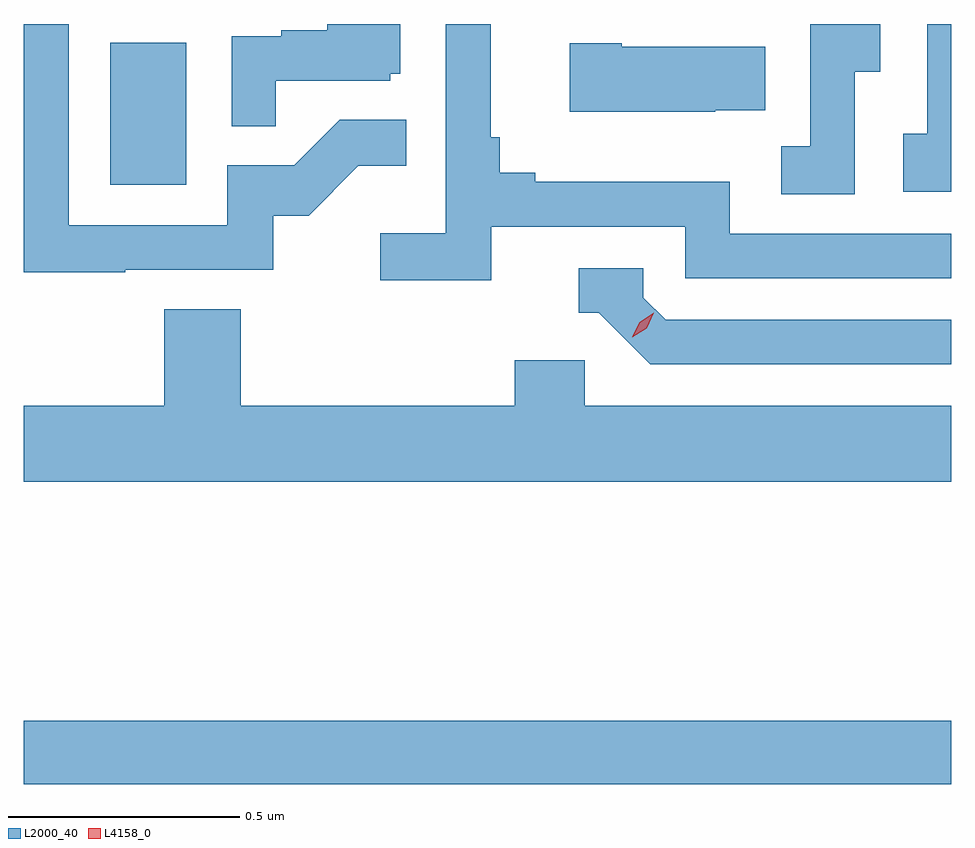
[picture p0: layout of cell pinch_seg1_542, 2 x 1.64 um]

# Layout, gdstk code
import gdstk
lib = gdstk.Library(unit=1e-6, precision=1e-09)
def R(c, l, rs):  # rectangles x0, y0, x1, y1
    for r in rs: c.add(gdstk.rectangle(r[:2], r[2:], *l))
def P(c, l, *ps):  # polygons
    for p in ps: c.add(gdstk.Polygon(p, *l))
L2000_40 = (2000, 40)
L4158_0 = (4158, 0)

pinch_seg1_542 = lib.new_cell('pinch_seg1_542')
R(pinch_seg1_542, L2000_40, [(1060.46,527.104,1062.46,527.24), (1060.646,528.396,1060.81,528.703)])
P(pinch_seg1_542, L2000_40, [(1062.46,528.743),(1062.408,528.743),(1062.408,528.506),(1062.357,528.506),(1062.357,528.381),(1062.46,528.381)],
  [(1062.252,528.64),(1062.307,528.64),(1062.307,528.743),(1062.156,528.743),(1062.156,528.479),(1062.093,528.479),(1062.093,528.376),(1062.252,528.376)],
  [(1060.679,528.213),(1060.998,528.213),(1060.998,528.33),(1061.074,528.33),(1061.181,528.437),(1061.285,528.437),(1061.285,528.536),(1061.141,528.536),(1061.043,528.438),(1060.899,528.438),(1060.899,528.309),(1060.557,528.309),(1060.557,528.743),(1060.46,528.743),(1060.46,528.208),(1060.679,528.208)],
  [(1061.003,528.621),(1061.25,528.621),(1061.25,528.636),(1061.272,528.636),(1061.272,528.743),(1061.114,528.743),(1061.114,528.73),(1061.015,528.73),(1061.015,528.717),(1060.908,528.717),(1060.908,528.523),(1061.003,528.523)],
  [(1061.468,528.306),(1061.886,528.306),(1061.886,528.195),(1062.46,528.195),(1062.46,528.291),(1061.982,528.291),(1061.982,528.403),(1061.563,528.403),(1061.563,528.422),(1061.486,528.422),(1061.486,528.499),(1061.467,528.499),(1061.467,528.743),(1061.37,528.743),(1061.37,528.292),(1061.229,528.292),(1061.229,528.19),(1061.468,528.19)],
  [(1061.951,528.557),(1062.059,528.557),(1062.059,528.694),(1061.749,528.694),(1061.749,528.702),(1061.637,528.702),(1061.637,528.554),(1061.951,528.554)],
  [(1062.46,528.105),(1061.844,528.105),(1061.796,528.153),(1061.796,528.216),(1061.657,528.216),(1061.657,528.12),(1061.7,528.12),(1061.811,528.009),(1062.46,528.009)],
  [(1062.46,527.92),(1061.67,527.92),(1061.67,528.018),(1061.519,528.018),(1061.519,527.92),(1060.928,527.92),(1060.928,528.128),(1060.763,528.128),(1060.763,527.92),(1060.46,527.92),(1060.46,527.756),(1062.46,527.756)])
P(pinch_seg1_542, L4158_0, [(1061.772,528.067),(1061.772,528.068),(1061.788,528.1),(1061.819,528.12),(1061.819,528.12),(1061.819,528.12),(1061.803,528.087),(1061.772,528.067)])

lib.write_gds('pinch_seg1_542.gds')
